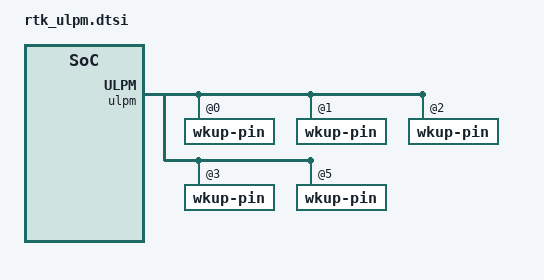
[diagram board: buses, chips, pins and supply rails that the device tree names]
/* Copyright 2026 The ChromiumOS Authors
 * Use of this source code is governed by a BSD-style license that can be
 * found in the LICENSE file.
 */

&ulpm {
	status = "okay";

	/* Lid: GPIO112 */
	wkup-pin@0 {
		reg = <0x0>;
		wkup-pin-pol = "rising";
		wkup-pin-mode = "vin";
	};

	/* GPIO113 */
	wkup-pin@1 {
		reg = <0x1>;
		wkup-pin-pol = "falling";
		wkup-pin-mode = "gpio";
	};

	/* GPIO114 */
	wkup-pin@2 {
		reg = <0x2>;
		wkup-pin-pol = "falling";
		wkup-pin-mode = "gpio";
	};

	/* Power button: GPIO115 */
	wkup-pin@3 {
		reg = <0x3>;
		wkup-pin-pol = "falling";
		wkup-pin-mode = "vin";
	};

	/* AC: GPIO117 */
	wkup-pin@5 {
		reg = <0x5>;
		wkup-pin-pol = "rising";
		wkup-pin-mode = "vin";
	};
};
